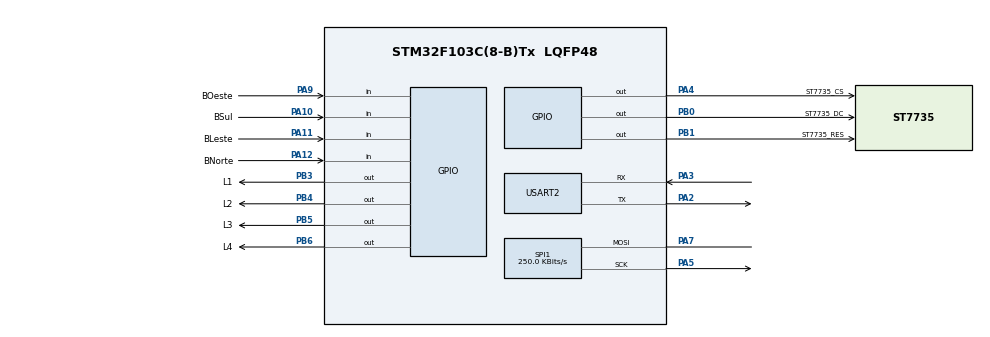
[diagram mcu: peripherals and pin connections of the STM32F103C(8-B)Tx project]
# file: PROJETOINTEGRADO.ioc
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Mcu.Family=STM32F1
Mcu.Name=STM32F103C(8-B)Tx
Mcu.Package=LQFP48
NVIC.PriorityGroup=NVIC_PRIORITYGROUP_4
PA10.GPIO_Label=BSul
PA10.GPIO_PuPd=GPIO_PULLUP
PA10.Signal=GPIO_Input
PA11.GPIO_Label=BLeste
PA11.GPIO_PuPd=GPIO_PULLUP
PA11.Signal=GPIO_Input
PA12.GPIO_Label=BNorte
PA12.GPIO_PuPd=GPIO_PULLUP
PA12.Signal=GPIO_Input
PA13.Mode=Serial_Wire
PA13.Signal=SYS_JTMS-SWDIO
PA14.Mode=Serial_Wire
PA14.Signal=SYS_JTCK-SWCLK
PA2.Mode=Asynchronous
PA2.Signal=USART2_TX
PA3.Mode=Asynchronous
PA3.Signal=USART2_RX
PA4.GPIO_Label=ST7735_CS
PA4.Signal=GPIO_Output
PA5.Mode=Simplex_Bidirectional_Master
PA5.Signal=SPI1_SCK
PA7.Mode=Simplex_Bidirectional_Master
PA7.Signal=SPI1_MOSI
PA9.GPIO_Label=BOeste
PA9.GPIO_PuPd=GPIO_PULLUP
PA9.Signal=GPIO_Input
PB0.GPIO_Label=ST7735_DC
PB0.Signal=GPIO_Output
PB1.GPIO_Label=ST7735_RES
PB1.Signal=GPIO_Output
PB3.GPIO_Label=L1
PB3.Signal=GPIO_Output
PB4.GPIO_Label=L2
PB4.Signal=GPIO_Output
PB5.GPIO_Label=L3
PB5.Signal=GPIO_Output
PB6.GPIO_Label=L4
PB6.Signal=GPIO_Output
ProjectManager.HeapSize=0x200
ProjectManager.StackSize=0x400
ProjectManager.TargetToolchain=STM32CubeIDE
RCC.APB1Freq_Value=8000000
RCC.APB2Freq_Value=8000000
SPI1.BaudRatePrescaler=SPI_BAUDRATEPRESCALER_32
SPI1.CalculateBaudRate=250.0 KBits/s
SPI1.Direction=SPI_DIRECTION_1LINE
SPI1.Mode=SPI_MODE_MASTER
SPI1.VirtualType=VM_MASTER
USART2.VirtualMode=VM_ASYNC
board=custom

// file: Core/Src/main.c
/* USER CODE BEGIN Header */
/**
  ******************************************************************************
  * @file           : main.c
  * @brief          : Main program body
  ******************************************************************************
  * @attention
  *
  * <h2><center>&copy; Copyright (c) 2026 STMicroelectronics.
  * All rights reserved.</center></h2>
  *
  * This software component is licensed by ST under BSD 3-Clause license,
  * the "License"; You may not use this file except in compliance with the
  * License. You may obtain a copy of the License at:
  * opensource.org/licenses/BSD-3-Clause
  *
  ******************************************************************************
  */
/* USER CODE END Header */
#include "main.h"

/* USER CODE BEGIN Includes */
#include "st7735\st7735.h"
#include <stdlib.h>
#include <stdio.h>
#include <stdbool.h>
/* USER CODE END Includes */

/* USER CODE BEGIN PD */
#define BCima HAL_GPIO_ReadPin(BNorte_GPIO_Port, BNorte_Pin)
#define BBaixo HAL_GPIO_ReadPin(BSul_GPIO_Port, BSul_Pin)
#define BEsquerda HAL_GPIO_ReadPin(BOeste_GPIO_Port, BOeste_Pin)
#define BDireita HAL_GPIO_ReadPin(BLeste_GPIO_Port, BLeste_Pin)
#define L1 HAL_GPIO_TogglePin(L1_GPIO_Port, L1_Pin); HAL_Delay(200)
#define L2 HAL_GPIO_TogglePin(L2_GPIO_Port, L2_Pin); HAL_Delay(200)
#define L3 HAL_GPIO_TogglePin(L3_GPIO_Port, L3_Pin); HAL_Delay(200)
#define L4 HAL_GPIO_TogglePin(L4_GPIO_Port, L4_Pin); HAL_Delay(200)
/* USER CODE END PD */

SPI_HandleTypeDef hspi1;

UART_HandleTypeDef huart2;

/* USER CODE BEGIN PV */
char senha_inteira[3];
int matricula_do_aluno = 0;
int campo[100];
int tentativas = 0;
int bloqueado = 0;
int limAlunos = 0;
int etapa = 0;
int senha[3];
int entrada[3] = {0, 0, 0};
int presentes = 0;
int presentes2 = 0;
int foraSala = 0;
int totalEntradas = 0;
int totalSaidas = 0;
uint32_t tempoInicio = 0;
uint32_t tempoFim = 0;
uint32_t duracaoTotalM = 0;
/* USER CODE END PV */

void SystemClock_Config(void);
static void MX_GPIO_Init(void);
static void MX_SPI1_Init(void);
static void MX_USART2_UART_Init(void);
/* USER CODE BEGIN PFP */
void ConfigurarLimiteAlunos(void);
void GerarExibirSenha(void);
void ProcessarEntradaSenha(void);
void ValidarAcesso(void);
void ExecutarControleAula(void);
void EncerrarAula(void);
void DesenharBarraTopo(int atual, int maximo);
/* USER CODE END PFP */

int main(void)
{

  /* MCU Configuration--------------------------------------------------------*/

  /* Reset of all peripherals, Initializes the Flash interface and the Systick. */
  HAL_Init();

  /* Configure the system clock */
  SystemClock_Config();

  /* Initialize all configured peripherals */
  MX_GPIO_Init();
  MX_SPI1_Init();
  MX_USART2_UART_Init();
  /* USER CODE BEGIN 2 */

  ST7735_Init();
  char buffer[50];

  //GPIO_PinState BCima = BCimaa;
  //GPIO_PinState BBaixo = BBaixoo;
  //GPIO_PinState BEsquerda = BEsquerdaa;
  //GPIO_PinState BDireita = BDireita;

  // 1. TELA DE ESPERA INICIAL (O único lugar que espera botão)
  ST7735_FillScreen(0xFFFF); // Fundo Branco
  ST7735_WriteString(5, 33, "PRESSIONE O BOTAO", Font_7x10, 0x0000, 0xFFFF);
  ST7735_WriteString(5, 45, "DE CIMA PARA INICIAR", Font_7x10, 0x0000, 0xFFFF);

  while(BCima == 1); // Aqui ele trava até você apertar. Depois daqui, tudo é automático.
  tempoInicio = HAL_GetTick(); // <--- Adicione isso aqui
  srand(HAL_GetTick());
  L1; L2; L3; L4;

  // 2. TELA "GERANDO SENHA" (3 segundos automáticos)
  ST7735_FillScreen(0xFFFF);
  ST7735_WriteString(5, 15, "Gerando senha.  ", Font_7x10, 0x0000, 0xFFFF);
  HAL_Delay(500);
  ST7735_WriteString(5, 15, "Gerando senha.. ", Font_7x10, 0x0000, 0xFFFF);
  HAL_Delay(500);
  ST7735_WriteString(5, 15, "Gerando senha...", Font_7x10, 0x0000, 0xFFFF);
  HAL_Delay(500);
  GerarExibirSenha();
  L1; L2; L3; L4;
  ST7735_FillScreen(0xFFFF);
  ST7735_WriteString(5, 27, "VEJA A SENHA NO PC ", Font_7x10, 0x0000, 0xFFFF);
  ST7735_WriteString(5, 40, "   E PRESSIONE F8", Font_7x10, 0x0000, 0xFFFF);

  ST7735_FillScreen(0xFFFF);
  ST7735_WriteString(5, 10, "CONTROLES SENHA:", Font_7x10, 0x0000, 0xFFFF);
  ST7735_WriteString(5, 30, "Esq: +1 | Dir: -1", Font_7x10, 0x0000, 0xFFFF);
  ST7735_WriteString(5, 45, "Baixo: Reset", Font_7x10, 0x0000, 0xFFFF);
  ST7735_WriteString(5, 60, "Cima: Confirmar", Font_7x10, 0x0000, 0xFFFF);
  HAL_Delay(3500); // Tempo para ler
  ST7735_FillScreen(0xFFFF); // Apaga

  //sprintf(buffer, "SENHA: %d%d%d", senha[0], senha[1], senha[2]);
    //ST7735_WriteString(10, 50, buffer, Font_11x18, 0x07FF, 0x0000);
    //HAL_Delay(4000);

  //ST7735_FillScreen(0x0000);
  //HAL_Delay(5000); // Fica parado aqui por 3s

  //ST7735_FillScreen(0x0000); pppppp

  /* USER CODE END 2 */

  /* Infinite loop */
  /* USER CODE BEGIN WHILE */
  while (1)
    {
      switch (etapa)
      {
        case 0:
        case 1:
        case 2:
          ProcessarEntradaSenha();
          break;
        case 3:
          ValidarAcesso();
          break;
        case 4:
        ConfigurarLimiteAlunos();
          etapa = 5;
          break;
        case 5:
          ExecutarControleAula();
          break;
        case 6:
          EncerrarAula();
          break;
      }
    /* USER CODE END WHILE */

}
}

void SystemClock_Config(void)
{
  RCC_OscInitTypeDef RCC_OscInitStruct = {0};
  RCC_ClkInitTypeDef RCC_ClkInitStruct = {0};

  /** Initializes the RCC Oscillators according to the specified parameters
  * in the RCC_OscInitTypeDef structure.
  */
  RCC_OscInitStruct.OscillatorType = RCC_OSCILLATORTYPE_HSI;
  RCC_OscInitStruct.HSIState = RCC_HSI_ON;
  RCC_OscInitStruct.HSICalibrationValue = RCC_HSICALIBRATION_DEFAULT;
  RCC_OscInitStruct.PLL.PLLState = RCC_PLL_NONE;
  if (HAL_RCC_OscConfig(&RCC_OscInitStruct) != HAL_OK)
  {
    Error_Handler();
  }
  /** Initializes the CPU, AHB and APB buses clocks
  */
  RCC_ClkInitStruct.ClockType = RCC_CLOCKTYPE_HCLK|RCC_CLOCKTYPE_SYSCLK
                              |RCC_CLOCKTYPE_PCLK1|RCC_CLOCKTYPE_PCLK2;
  RCC_ClkInitStruct.SYSCLKSource = RCC_SYSCLKSOURCE_HSI;
  RCC_ClkInitStruct.AHBCLKDivider = RCC_SYSCLK_DIV1;
  RCC_ClkInitStruct.APB1CLKDivider = RCC_HCLK_DIV1;
  RCC_ClkInitStruct.APB2CLKDivider = RCC_HCLK_DIV1;

  if (HAL_RCC_ClockConfig(&RCC_ClkInitStruct, FLASH_LATENCY_0) != HAL_OK)
  {
    Error_Handler();
  }
}

static void MX_SPI1_Init(void)
{

  /* SPI1 parameter configuration*/
  hspi1.Instance = SPI1;
  hspi1.Init.Mode = SPI_MODE_MASTER;
  hspi1.Init.Direction = SPI_DIRECTION_1LINE;
  hspi1.Init.DataSize = SPI_DATASIZE_8BIT;
  hspi1.Init.CLKPolarity = SPI_POLARITY_LOW;
  hspi1.Init.CLKPhase = SPI_PHASE_1EDGE;
  hspi1.Init.NSS = SPI_NSS_SOFT;
  hspi1.Init.BaudRatePrescaler = SPI_BAUDRATEPRESCALER_32;
  hspi1.Init.FirstBit = SPI_FIRSTBIT_MSB;
  hspi1.Init.TIMode = SPI_TIMODE_DISABLE;
  hspi1.Init.CRCCalculation = SPI_CRCCALCULATION_DISABLE;
  hspi1.Init.CRCPolynomial = 10;
  if (HAL_SPI_Init(&hspi1) != HAL_OK)
  {
    Error_Handler();
  }

}

static void MX_USART2_UART_Init(void)
{

  huart2.Instance = USART2;
  huart2.Init.BaudRate = 115200;
  huart2.Init.WordLength = UART_WORDLENGTH_8B;
  huart2.Init.StopBits = UART_STOPBITS_1;
  huart2.Init.Parity = UART_PARITY_NONE;
  huart2.Init.Mode = UART_MODE_TX_RX;
  huart2.Init.HwFlowCtl = UART_HWCONTROL_NONE;
  huart2.Init.OverSampling = UART_OVERSAMPLING_16;
  if (HAL_UART_Init(&huart2) != HAL_OK)
  {
    Error_Handler();
  }

}

static void MX_GPIO_Init(void)
{
  GPIO_InitTypeDef GPIO_InitStruct = {0};

  /* GPIO Ports Clock Enable */
  __HAL_RCC_GPIOA_CLK_ENABLE();
  __HAL_RCC_GPIOB_CLK_ENABLE();

  /*Configure GPIO pin Output Level */
  HAL_GPIO_WritePin(ST7735_CS_GPIO_Port, ST7735_CS_Pin, GPIO_PIN_RESET);

  /*Configure GPIO pin Output Level */
  HAL_GPIO_WritePin(GPIOB, ST7735_DC_Pin|ST7735_RES_Pin|L1_Pin|L2_Pin
                          |L3_Pin|L4_Pin, GPIO_PIN_RESET);

  /*Configure GPIO pin : ST7735_CS_Pin */
  GPIO_InitStruct.Pin = ST7735_CS_Pin;
  GPIO_InitStruct.Mode = GPIO_MODE_OUTPUT_PP;
  GPIO_InitStruct.Pull = GPIO_NOPULL;
  GPIO_InitStruct.Speed = GPIO_SPEED_FREQ_LOW;
  HAL_GPIO_Init(ST7735_CS_GPIO_Port, &GPIO_InitStruct);

  /*Configure GPIO pins : ST7735_DC_Pin ST7735_RES_Pin L1_Pin L2_Pin
                           L3_Pin L4_Pin */
  GPIO_InitStruct.Pin = ST7735_DC_Pin|ST7735_RES_Pin|L1_Pin|L2_Pin
                          |L3_Pin|L4_Pin;
  GPIO_InitStruct.Mode = GPIO_MODE_OUTPUT_PP;
  GPIO_InitStruct.Pull = GPIO_NOPULL;
  GPIO_InitStruct.Speed = GPIO_SPEED_FREQ_LOW;
  HAL_GPIO_Init(GPIOB, &GPIO_InitStruct);

  /*Configure GPIO pins : BOeste_Pin BSul_Pin BLeste_Pin BNorte_Pin */
  GPIO_InitStruct.Pin = BOeste_Pin|BSul_Pin|BLeste_Pin|BNorte_Pin;
  GPIO_InitStruct.Mode = GPIO_MODE_INPUT;
  GPIO_InitStruct.Pull = GPIO_PULLUP;
  HAL_GPIO_Init(GPIOA, &GPIO_InitStruct);

}

/* USER CODE BEGIN 4 */
/* USER CODE BEGIN 4 */
int __io_putchar(int ch) {
    // Transmite 1 caractere por vez via UART
    HAL_UART_Transmit(&huart2, (uint8_t *)&ch, 1, HAL_MAX_DELAY);
    return ch;
}

int __io_getchar(void) {
    uint8_t ch = 0;
    // Recebe 1 caractere por vez do teclado do PC
    HAL_UART_Receive(&huart2, &ch, 1, HAL_MAX_DELAY);
    return ch;
}
/* USER CODE BEGIN 4 */

void GerarExibirSenha(void) {
  char buffer[20];
  for(int i = 0; i < 3; i++) senha[i] = rand() % 10;

  ST7735_FillScreen(0xFFFF);
  //sprintf(buffer, "SENHA: %d%d%d", senha[0], senha[1], senha[2]);
  //ST7735_WriteString(10, 50, buffer, Font_11x18, 0x07FF, 0x0000);
  //HAL_Delay(4000);

  sprintf((char*)senha_inteira, "%d%d%d", senha[0], senha[1], senha[2]);

  ST7735_FillScreen(0xFFFF);
}

void ProcessarEntradaSenha(void) {
  char buffer[20];
  if (BEsquerda == 0) { entrada[etapa]++; if (entrada[etapa] > 9) entrada[etapa] = 0; HAL_Delay(200); }
  if (BDireita == 0)  { entrada[etapa]--; if (entrada[etapa] < 0) entrada[etapa] = 9; HAL_Delay(200); }

  sprintf(buffer, "%d Digito:", etapa + 1);
        ST7735_WriteString(14, 20, buffer, Font_11x18, 0x0000, 0xFFFF);
        sprintf(buffer, "%d", entrada[etapa]);
        ST7735_WriteString(58, 55, buffer, Font_11x18, 0x0000, 0xFFFF);

  if (BCima == 0) {
    etapa++;
    ST7735_FillScreen(0xFFFF);
    HAL_Delay(300);
  }
}

void ValidarAcesso(void) {
  if (entrada[0] == senha[0] && entrada[1] == senha[1] && entrada[2] == senha[2]) {
    ST7735_FillScreen(0xFFFF);
    ST7735_WriteString(5, 50, "ACESSO OK", Font_11x18, 0x0000, 0xFFFF);
    HAL_Delay(2000);
    ST7735_FillScreen(0xFFFF);
    etapa = 4;
  } else {
    tentativas++;
    ST7735_FillScreen(0xFFFF);
    if (tentativas >= 3) {
      ST7735_WriteString(5, 40, "BLOQUEADO", Font_11x18, 0x0000, 0xFFFF);
      while(1); // Trava o sistema por segurança
    } else {
      ST7735_WriteString(5, 40, "ERRO SENHA", Font_7x10, 0x0000, 0xFFFF);
      HAL_Delay(1500);
      etapa = 0; // Reinicia tentativa
      entrada[0] = entrada[1] = entrada[2] = 0;
      ST7735_FillScreen(0xFFFF);
    }
  }
}

void ConfigurarLimiteAlunos(void) {
    bool sis = true;
    char buffer_local[20];

    ST7735_FillScreen(0xFFFF);
        ST7735_WriteString(5, 5, "MENU CONFIG:", Font_7x10, 0x0000, 0xFFFF);
        ST7735_WriteString(5, 25, "Esq: +1 | Dir: +5", Font_7x10, 0x0000, 0xFFFF);
        ST7735_WriteString(5, 40, "Cima: Salvar", Font_7x10, 0x0000, 0xFFFF);
        ST7735_WriteString(5, 55, "Baixo: Reseta", Font_7x10, 0x0000, 0xFFFF);
        HAL_Delay(3000);
        ST7735_FillScreen(0xFFFF);

    ST7735_FillScreen(0xFFFF); // Limpa para iniciar a config
    ST7735_WriteString(5, 10, "LIMITE ALUNOS:", Font_7x10, 0x0000, 0xFFFF);

    while (sis) {
        // 1. Ler os botões diretamente pelos defines
        if (BEsquerda == 0) { limAlunos++; HAL_Delay(200); }
        if (BDireita == 0)  { limAlunos += 5; HAL_Delay(200); }
        if (BBaixo == 0)    { limAlunos = 0; HAL_Delay(200); }

        // 2. Atualizar o display (Amarelo)
        sprintf(buffer_local, "Total: %d  ", limAlunos); // Espaços extras limpam o rastro do número anterior
        ST7735_WriteString(20, 50, buffer_local, Font_11x18, 0x0000, 0xFFFF);

        // 3. Confirmar e Sair
        if (BCima == 0 && limAlunos > 0) {
            sis = false;
            ST7735_FillScreen(0xFFFF);
            ST7735_WriteString(10, 50, "CONFIGURADO!", Font_11x18, 0x0000, 0xFFFF);
            HAL_Delay(1500);
            ST7735_FillScreen(0xFFFF);
        }
    }
}

void ExecutarControleAula(void) {
  char buffer[30];

      DesenharBarraTopo(presentes2, limAlunos);

        sprintf(buffer, "Pres: %d/%d ", presentes2, limAlunos);
           ST7735_WriteString(5, 22, buffer, Font_7x10, 0x0000, 0xFFFF);
           sprintf(buffer, "Fora: %d/3 ", foraSala);
           ST7735_WriteString(5, 35, buffer, Font_7x10, (foraSala >= 3 ? 0xF800 : 0x0000), 0xFFFF);

           // Comandos curtos
           ST7735_WriteString(5, 48, "D: Voltar | E: Saida", Font_7x10, 0x0000, 0xFFFF);
           ST7735_WriteString(5, 61, "C: Entrar | C+B: Fim", Font_7x10, 0x0000, 0xFFFF);

  // ENTRADA (CIMA)
           if (BCima == 0 && BBaixo == 1) {
               if (presentes < limAlunos) {
               ST7735_FillScreen(0xFFFF);
                   ST7735_WriteString(5, 40, "MATRICULA NO PC...    ", Font_7x10, 0x0000, 0xFFFF);
                   HAL_Delay(500);

                   //digitar matricula

                   campo[presentes] = matricula_do_aluno;
                   ST7735_FillScreen(0xFFFF);
                   sprintf(buffer, "%do ALUNO", presentes + 1);
                   ST7735_WriteString(10, 40, buffer, Font_11x18, 0x0000, 0xFFFF);
                   sprintf(buffer, "Mat: %d", campo[presentes]);
                   ST7735_WriteString(10, 65, buffer, Font_7x10, 0x0000, 0xFFFF);
                   presentes++;
                   presentes2++;
                   totalEntradas++;
               } else {
               ST7735_FillScreen(0xFFFF);
               ST7735_WriteString(10, 50, "SALA CHEIA!", Font_11x18, 0x0000, 0xFFFF);
               }
               HAL_Delay(2000);
               ST7735_FillScreen(0xFFFF);
               matricula_do_aluno = 0;

           }

           // SAÍDA (ESQUERDA)
           if (BEsquerda == 0) {
               if (foraSala < 3 && (presentes - foraSala) > 0) {
                   foraSala++;
                   totalSaidas++;
                   presentes2--;
                   ST7735_FillScreen(0xFFFF);
                 ST7735_WriteString(10, 50, "SAIDA OK!", Font_11x18, 0x0000, 0xFFFF);
               }
               else {
               ST7735_FillScreen(0xFFFF);
               ST7735_WriteString(5, 40, "NAO EH POSSIVEL SAIR!", Font_7x10, 0x0000, 0xFFFF);
              L1; L2; L3; L4;
              L1; L2; L3; L4;
               }
               HAL_Delay(1000);
               ST7735_FillScreen(0xFFFF);
           }

           // RETORNO (DIREITA)
           if (BDireita == 0) {
               if (foraSala > 0) {
               foraSala--;
               presentes2++;
               ST7735_FillScreen(0xFFFF);
               ST7735_WriteString(10, 50, "RETORNO OK!", Font_11x18, 0x0000, 0xFFFF);
               }
               else {
               ST7735_FillScreen(0xFFFF);
               ST7735_WriteString(10, 50, "NAO HA NINGUEM PRA ENTRAR!", Font_7x10, 0x0000, 0xFFFF);
               L1; L2; L3; L4;
               L1; L2; L3; L4;
               }
               ST7735_FillScreen(0xFFFF);
               HAL_Delay(1000);

           }

           // FINALIZAR (CIMA + BAIXO)
           if (BCima == 0 && BBaixo == 0) {
           tempoFim = HAL_GetTick();
           duracaoTotalM = (tempoFim - tempoInicio) / 60000;
               etapa = 6;
               ST7735_FillScreen(0xFFFF);
           }

}

void EncerrarAula(void) {
  char buffer[30];
  ST7735_WriteString(5, 10, "FIM DA AULA", Font_7x10, 0x0000, 0xFFFF);
  sprintf(buffer, "Entradas: %d", totalEntradas);
  ST7735_WriteString(5, 28, buffer, Font_7x10, 0x0000, 0xFFFF);
  sprintf(buffer, "Saidas: %d", totalSaidas);
  ST7735_WriteString(5, 42, buffer, Font_7x10, 0x0000, 0xFFFF);
  sprintf(buffer, "Tempo da aula: %lu min", duracaoTotalM);
  ST7735_WriteString(5, 60, buffer, Font_7x10, 0x0000, 0xFFFF);

  L1; L2; L3; L4;
  L1; L2; L3; L4;
  L1; L2; L3; L4;
  L1; L2; L3; L4;
  L1; L2; L3; L4;
  L1; L2; L3; L4;
  L1; L2; L3; L4;
  L1; L2; L3; L4;
  L1; L2; L3; L4;
  L1; L2; L3; L4;
  while(1);
}
void DesenharBarraTopo(int atual, int maximo) {
uint16_t x = 5, y = 5, larguraTotal = 118, altura = 12;

   if (maximo <= 0) maximo = 1;
   if (atual > maximo) atual = maximo;

   uint16_t areaInterna = larguraTotal - 2;
   uint16_t larguraPreenchida = (atual * areaInterna) / maximo;
   uint16_t larguraVazia = areaInterna - larguraPreenchida;

   uint16_t cor = (atual >= maximo) ? 0xF800 : 0x07E0;

   ST7735_FillRectangle(x, y, larguraTotal, 1, 0x0000);
   ST7735_FillRectangle(x, y + altura - 1, larguraTotal, 1, 0x0000);
   ST7735_FillRectangle(x, y, 1, altura, 0x0000);
   ST7735_FillRectangle(x + larguraTotal - 1, y, 1, altura, 0x0000);

   if (larguraPreenchida > 0)
       ST7735_FillRectangle(x + 1, y + 1, larguraPreenchida, altura - 2, cor);

   if (larguraVazia > 0)
       ST7735_FillRectangle(x + 1 + larguraPreenchida, y + 1, larguraVazia, altura - 2, 0xFFFF);
}
/* USER CODE END 4 */
/* USER CODE END 4 */

void Error_Handler(void)
{
  __disable_irq();
  while (1)
  {
  }
}

/************************ (C) COPYRIGHT STMicroelectronics *****END OF FILE****/
